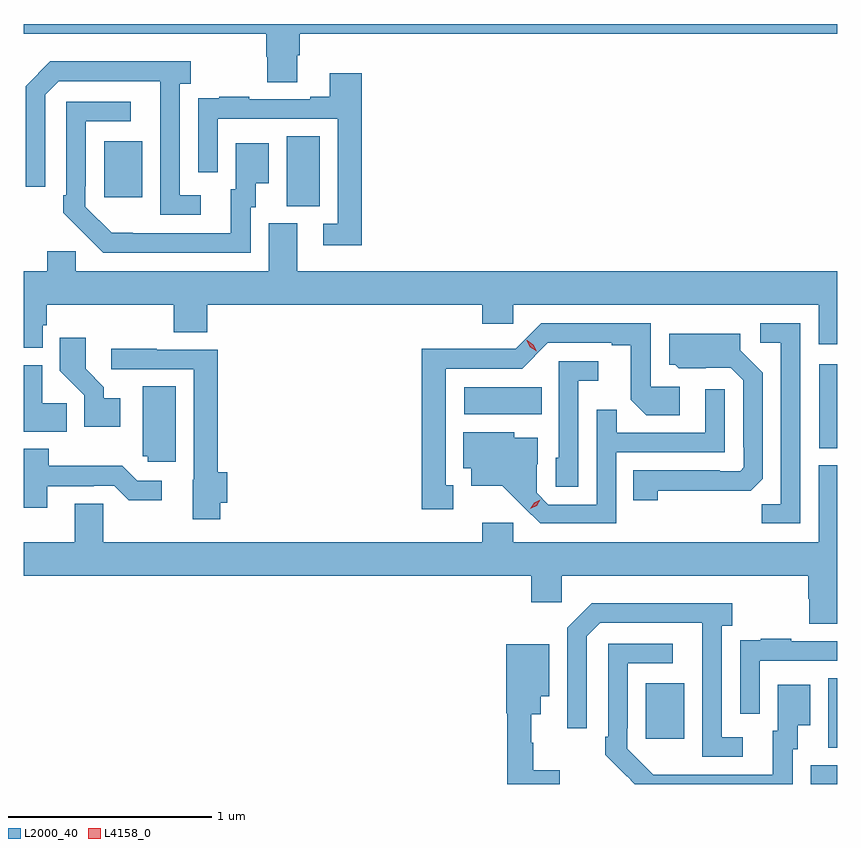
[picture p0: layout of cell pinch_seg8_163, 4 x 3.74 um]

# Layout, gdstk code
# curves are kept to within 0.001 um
import gdstk
lib = gdstk.Library(unit=1e-6, precision=1e-09)
def R(c, l, rs):  # rectangles x0, y0, x1, y1
    for r in rs: c.add(gdstk.rectangle(r[:2], r[2:], *l))
def P(c, l, *ps):  # polygons
    for p in ps: c.add(gdstk.Polygon(p, *l))
L2000_40 = (2000, 40)
L4158_0 = (4158, 0)

pinch_seg8_163 = lib.new_cell('pinch_seg8_163')
R(pinch_seg8_163, L2000_40, [(701.849,1160.763,701.98,1160.856), (701.936,1160.941,701.98,1161.284), (701.039,1160.985,701.227,1161.259), (701.891,1162.415,701.98,1162.828), (700.146,1162.58,700.526,1162.714), (699.272,1163.605,699.436,1163.948), (698.375,1163.649,698.563,1163.923)])
P(pinch_seg8_163, L2000_40, [(699.325,1164.346),(699.338,1164.346),(699.338,1164.452),(701.98,1164.452),(701.98,1164.5),(697.98,1164.5),(697.98,1164.452),(699.173,1164.452),(699.173,1164.339),(699.178,1164.339),(699.178,1164.214),(699.325,1164.214)],
  [(698.851,1163.658),(698.748,1163.658),(698.748,1164.206),(698.8,1164.206),(698.8,1164.316),(698.11,1164.316),(697.989,1164.195),(697.989,1163.7),(698.085,1163.7),(698.085,1164.153),(698.151,1164.219),(698.651,1164.219),(698.652,1163.562),(698.851,1163.562)],
  [(699.641,1164.259),(699.485,1164.259),(699.485,1164.142),(699.389,1164.142),(699.389,1164.129),(699.089,1164.129),(699.089,1164.142),(698.941,1164.142),(698.941,1164.135),(698.839,1164.135),(698.839,1164.026),(698.838,1164.026),(698.838,1163.772),(698.934,1163.772),(698.934,1164.033),(699.525,1164.033),(699.525,1163.517),(699.453,1163.517),(699.453,1163.412),(699.641,1163.412)],
  [(699.096,1163.598),(699.121,1163.598),(699.121,1163.717),(699.184,1163.717),(699.184,1163.914),(699.023,1163.914),(699.023,1163.688),(698.999,1163.688),(698.999,1163.472),(698.412,1163.473),(698.283,1163.601),(698.283,1163.701),(698.286,1163.701),(698.286,1164.021),(698.506,1164.021),(698.506,1164.117),(698.19,1164.117),(698.19,1163.659),(698.175,1163.659),(698.175,1163.571),(698.372,1163.376),(699.096,1163.376)],
  [(698.073,1163.019),(698.093,1163.019),(698.093,1163.12),(698.717,1163.12),(698.717,1162.984),(698.882,1162.984),(698.882,1163.12),(700.235,1163.12),(700.235,1163.027),(700.386,1163.027),(700.386,1163.12),(701.888,1163.12),(701.888,1162.926),(701.98,1162.926),(701.98,1163.284),(699.325,1163.284),(699.325,1163.52),(699.185,1163.52),(699.185,1163.284),(698.235,1163.284),(698.235,1163.382),(698.096,1163.382),(698.096,1163.284),(697.98,1163.284),(697.98,1162.907),(698.073,1162.907)],
  [(700.093,1162.233),(700.054,1162.233),(700.054,1162.806),(700.431,1162.806),(700.557,1162.932),(700.871,1162.932),(700.871,1162.92),(700.965,1162.92),(700.965,1162.652),(701.041,1162.576),(701.206,1162.576),(701.206,1162.716),(701.064,1162.716),(701.064,1163.028),(700.524,1163.028),(700.398,1162.902),(700.176,1162.902),(700.176,1162.904),(699.936,1162.904),(699.936,1162.113),(700.093,1162.113)],
  [(701.799,1163.028),(701.601,1163.028),(701.601,1162.932),(701.703,1162.932),(701.703,1162.139),(701.608,1162.139),(701.608,1162.044),(701.799,1162.044)],
  [(701.097,1162.204),(701.554,1162.205),(701.613,1162.264),(701.613,1162.786),(701.503,1162.896),(701.503,1162.978),(701.153,1162.978),(701.153,1162.824),(701.184,1162.824),(701.2,1162.808),(701.457,1162.809),(701.517,1162.749),(701.517,1162.42),(701.52,1162.42),(701.52,1162.32),(701.502,1162.302),(701.402,1162.302),(701.402,1162.305),(700.978,1162.305),(700.978,1162.158),(701.097,1162.158)],
  [(698.455,1162.66),(698.374,1162.66),(698.374,1162.715),(698.284,1162.805),(698.284,1162.957),(698.158,1162.957),(698.158,1162.794),(698.277,1162.675),(698.277,1162.52),(698.455,1162.52)],
  [(698.946,1162.146),(698.981,1162.146),(698.981,1162.295),(698.933,1162.295),(698.933,1162.899),(698.633,1162.899),(698.633,1162.902),(698.409,1162.902),(698.409,1162.803),(698.817,1162.803),(698.817,1162.26),(698.81,1162.26),(698.81,1162.064),(698.946,1162.064)],
  [(700.707,1162.745),(700.804,1162.745),(700.804,1162.842),(700.611,1162.842),(700.611,1162.368),(700.596,1162.368),(700.596,1162.225),(700.707,1162.225)],
  [(698.192,1162.634),(698.071,1162.634),(698.071,1162.822),(697.98,1162.822),(697.98,1162.496),(698.192,1162.496)],
  [(698.728,1162.718),(698.564,1162.718),(698.564,1162.374),(698.589,1162.374),(698.589,1162.347),(698.728,1162.347)],
  [(700.893,1162.395),(701.427,1162.395),(701.427,1162.705),(701.331,1162.705),(701.331,1162.491),(700.895,1162.491),(700.895,1162.604),(700.797,1162.604),(700.797,1162.137),(700.56,1162.137),(700.503,1162.194),(700.503,1162.336),(700.507,1162.336),(700.507,1162.465),(700.392,1162.465),(700.392,1162.492),(700.142,1162.492),(700.142,1162.316),(700.181,1162.316),(700.181,1162.229),(700.333,1162.229),(700.52,1162.044),(700.893,1162.044)],
  [(698.095,1162.227),(698.324,1162.227),(698.324,1162.23),(698.424,1162.23),(698.497,1162.157),(698.659,1162.157),(698.659,1162.254),(698.538,1162.254),(698.465,1162.327),(698.103,1162.327),(698.103,1162.411),(697.98,1162.411),(697.98,1162.122),(698.095,1162.122)],
  [(701.98,1162.33),(701.888,1162.33),(701.888,1161.952),(700.386,1161.952),(700.386,1162.048),(700.235,1162.048),(700.235,1161.952),(698.37,1161.952),(698.37,1162.142),(698.231,1162.142),(698.231,1161.952),(697.98,1161.952),(697.98,1161.788),(700.475,1161.788),(700.475,1161.657),(700.626,1161.657),(700.626,1161.788),(701.837,1161.788),(701.837,1161.675),(701.842,1161.675),(701.842,1161.55),(701.98,1161.55)],
  [(701.515,1160.994),(701.412,1160.994),(701.412,1161.542),(701.464,1161.542),(701.464,1161.652),(700.774,1161.652),(700.653,1161.531),(700.653,1161.036),(700.749,1161.036),(700.749,1161.489),(700.815,1161.555),(701.315,1161.555),(701.316,1160.898),(701.515,1160.898)],
  [(701.598,1161.369),(701.98,1161.369),(701.98,1161.465),(701.753,1161.465),(701.753,1161.478),(701.605,1161.478),(701.605,1161.471),(701.503,1161.471),(701.503,1161.362),(701.502,1161.362),(701.502,1161.108),(701.598,1161.108)],
  [(701.76,1160.934),(701.785,1160.934),(701.785,1161.053),(701.848,1161.053),(701.848,1161.25),(701.687,1161.25),(701.687,1161.024),(701.663,1161.024),(701.663,1160.808),(701.076,1160.809),(700.947,1160.937),(700.947,1161.037),(700.95,1161.037),(700.95,1161.357),(701.17,1161.357),(701.17,1161.453),(700.854,1161.453),(700.854,1160.995),(700.839,1160.995),(700.839,1160.907),(700.944,1160.802),(700.945,1160.803),(700.985,1160.763),(701.76,1160.763)],
  [(700.615,1160.831),(700.486,1160.831),(700.486,1160.967),(700.475,1160.967),(700.475,1161.107),(700.522,1161.107),(700.522,1161.194),(700.564,1161.194),(700.564,1161.451),(700.352,1161.451),(700.352,1161.111),(700.357,1161.111),(700.357,1160.763),(700.615,1160.763)])
P(pinch_seg8_163, L4158_0, [(700.471,1162.117),(700.471,1162.117),(700.489,1162.146),(700.519,1162.16),(700.52,1162.16),(700.52,1162.16),(700.502,1162.131),(700.471,1162.117)],
  [(700.503,1162.891),(700.471,1162.911),(700.454,1162.943),(700.454,1162.944),(700.455,1162.944),(700.486,1162.924),(700.503,1162.892),(700.503,1162.891)])

lib.write_gds('pinch_seg8_163.gds')
